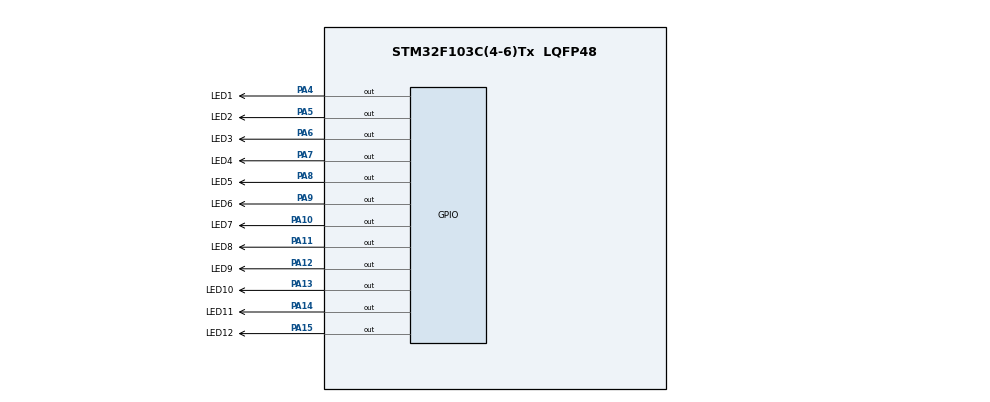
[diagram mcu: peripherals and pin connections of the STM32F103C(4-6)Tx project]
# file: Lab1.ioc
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Mcu.Family=STM32F1
Mcu.Name=STM32F103C(4-6)Tx
Mcu.Package=LQFP48
NVIC.PriorityGroup=NVIC_PRIORITYGROUP_4
PA10.GPIO_Label=LED7
PA10.Signal=GPIO_Output
PA11.GPIO_Label=LED8
PA11.Signal=GPIO_Output
PA12.GPIO_Label=LED9
PA12.Signal=GPIO_Output
PA13.GPIO_Label=LED10
PA13.Signal=GPIO_Output
PA14.GPIO_Label=LED11
PA14.Signal=GPIO_Output
PA15.GPIO_Label=LED12
PA15.Signal=GPIO_Output
PA4.GPIO_Label=LED1
PA4.Signal=GPIO_Output
PA5.GPIO_Label=LED2
PA5.Signal=GPIO_Output
PA6.GPIO_Label=LED3
PA6.Signal=GPIO_Output
PA7.GPIO_Label=LED4
PA7.Signal=GPIO_Output
PA8.GPIO_Label=LED5
PA8.Signal=GPIO_Output
PA9.GPIO_Label=LED6
PA9.Signal=GPIO_Output
ProjectManager.HeapSize=0x200
ProjectManager.StackSize=0x400
ProjectManager.TargetToolchain=STM32CubeIDE
RCC.APB1Freq_Value=8000000
RCC.APB2Freq_Value=8000000
VP_SYS_VS_ND.Mode=No_Debug
board=custom

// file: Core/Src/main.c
/* USER CODE BEGIN Header */
/**
  ******************************************************************************
  * @file           : main.c
  * @brief          : Main program body
  ******************************************************************************
  * @attention
  *
  * Copyright (c) 2024 STMicroelectronics.
  * All rights reserved.
  *
  * This software is licensed under terms that can be found in the LICENSE file
  * in the root directory of this software component.
  * If no LICENSE file comes with this software, it is provided AS-IS.
  *
  ******************************************************************************
  */
/* USER CODE END Header */
#include "main.h"

/* USER CODE BEGIN PV */
int sec = 0;
int min = 55;
int hour = 11;
/* USER CODE END PV */

void SystemClock_Config(void);
static void MX_GPIO_Init(void);
/* USER CODE BEGIN PFP */
//ex7
void clearAllClock()
{
	HAL_GPIO_WritePin(LED1_GPIO_Port, LED1_Pin, GPIO_PIN_SET);
	HAL_GPIO_WritePin(LED2_GPIO_Port, LED2_Pin, GPIO_PIN_SET);
	HAL_GPIO_WritePin(LED3_GPIO_Port, LED3_Pin, GPIO_PIN_SET);
	HAL_GPIO_WritePin(LED4_GPIO_Port, LED4_Pin, GPIO_PIN_SET);
	HAL_GPIO_WritePin(LED5_GPIO_Port, LED5_Pin, GPIO_PIN_SET);
	HAL_GPIO_WritePin(LED6_GPIO_Port, LED6_Pin, GPIO_PIN_SET);
	HAL_GPIO_WritePin(LED7_GPIO_Port, LED7_Pin, GPIO_PIN_SET);
	HAL_GPIO_WritePin(LED8_GPIO_Port, LED8_Pin, GPIO_PIN_SET);
	HAL_GPIO_WritePin(LED9_GPIO_Port, LED9_Pin, GPIO_PIN_SET);
	HAL_GPIO_WritePin(LED10_GPIO_Port, LED10_Pin, GPIO_PIN_SET);
	HAL_GPIO_WritePin(LED11_GPIO_Port, LED11_Pin, GPIO_PIN_SET);
	HAL_GPIO_WritePin(LED12_GPIO_Port, LED12_Pin, GPIO_PIN_SET);
}
//BEGIN EX8
void setNumberOnClock(int num)
{
	switch(num)
	{
		case 0:
			HAL_GPIO_WritePin(LED12_GPIO_Port, LED12_Pin, GPIO_PIN_RESET);
			break;
		case 1:
			HAL_GPIO_WritePin(LED1_GPIO_Port, LED1_Pin, GPIO_PIN_RESET);
			break;
		case 2:
			HAL_GPIO_WritePin(LED2_GPIO_Port, LED2_Pin, GPIO_PIN_RESET);
			break;
		case 3:
			HAL_GPIO_WritePin(LED3_GPIO_Port, LED3_Pin, GPIO_PIN_RESET);
			break;
		case 4:
			HAL_GPIO_WritePin(LED4_GPIO_Port, LED4_Pin, GPIO_PIN_RESET);
			break;
		case 5:
			HAL_GPIO_WritePin(LED5_GPIO_Port, LED5_Pin, GPIO_PIN_RESET);
			break;
		case 6:
			HAL_GPIO_WritePin(LED6_GPIO_Port, LED6_Pin, GPIO_PIN_RESET);
			break;
		case 7:
			HAL_GPIO_WritePin(LED7_GPIO_Port, LED7_Pin, GPIO_PIN_RESET);
			break;
		case 8:
			HAL_GPIO_WritePin(LED8_GPIO_Port, LED8_Pin, GPIO_PIN_RESET);
			break;
		case 9:
			HAL_GPIO_WritePin(LED9_GPIO_Port, LED9_Pin, GPIO_PIN_RESET);
			break;
		case 10:
			HAL_GPIO_WritePin(LED10_GPIO_Port, LED10_Pin, GPIO_PIN_RESET);
			break;
		case 11:
			HAL_GPIO_WritePin(LED11_GPIO_Port, LED11_Pin, GPIO_PIN_RESET);
			break;
	}
}
//BEGIN ex9
void clearNumberOnClock(int num)
{
	switch(num)
	{
		case 0:
			HAL_GPIO_WritePin(LED12_GPIO_Port, LED12_Pin, GPIO_PIN_SET);
			break;
		case 1:
			HAL_GPIO_WritePin(LED1_GPIO_Port, LED1_Pin, GPIO_PIN_SET);
			break;
		case 2:
			HAL_GPIO_WritePin(LED2_GPIO_Port, LED2_Pin, GPIO_PIN_SET);
			break;
		case 3:
			HAL_GPIO_WritePin(LED3_GPIO_Port, LED3_Pin, GPIO_PIN_SET);
			break;
		case 4:
			HAL_GPIO_WritePin(LED4_GPIO_Port, LED4_Pin, GPIO_PIN_SET);
			break;
		case 5:
			HAL_GPIO_WritePin(LED5_GPIO_Port, LED5_Pin, GPIO_PIN_SET);
			break;
		case 6:
			HAL_GPIO_WritePin(LED6_GPIO_Port, LED6_Pin, GPIO_PIN_SET);
			break;
		case 7:
			HAL_GPIO_WritePin(LED7_GPIO_Port, LED7_Pin, GPIO_PIN_SET);
			break;
		case 8:
			HAL_GPIO_WritePin(LED8_GPIO_Port, LED8_Pin, GPIO_PIN_SET);
			break;
		case 9:
			HAL_GPIO_WritePin(LED9_GPIO_Port, LED9_Pin, GPIO_PIN_SET);
			break;
		case 10:
			HAL_GPIO_WritePin(LED10_GPIO_Port, LED10_Pin, GPIO_PIN_SET);
			break;
		case 11:
			HAL_GPIO_WritePin(LED11_GPIO_Port, LED11_Pin, GPIO_PIN_SET);
			break;
	}
}
/* USER CODE END PFP */

int main(void)
{

  /* MCU Configuration--------------------------------------------------------*/

  /* Reset of all peripherals, Initializes the Flash interface and the Systick. */
  HAL_Init();

  /* Configure the system clock */
  SystemClock_Config();

  /* Initialize all configured peripherals */
  MX_GPIO_Init();

  /* Infinite loop */
  /* USER CODE BEGIN WHILE */

  clearAllClock();

  while (1)
  {
	  //ex10
	  clearNumberOnClock(min / 5);
	  //update kim giây, tạo hiệu ứng nhấp nháy
	  if (sec % 5 == 0) setNumberOnClock(sec / 5) ;
			  else clearNumberOnClock(sec / 5);

	  setNumberOnClock(min / 5);
	  setNumberOnClock(hour);

	  sec++;

	  if (sec >= 60){
		  sec = 0;
		  min++;
		  if (min >= 60){
			  min = 0;
			  clearNumberOnClock(hour);
			  hour++;
			  setNumberOnClock(hour);
			  if (hour >= 12) {
				  hour = 0;
			  }
		  }
	  }

	  HAL_Delay(100);
    /* USER CODE END WHILE */

  }
}

void SystemClock_Config(void)
{
  RCC_OscInitTypeDef RCC_OscInitStruct = {0};
  RCC_ClkInitTypeDef RCC_ClkInitStruct = {0};

  /** Initializes the RCC Oscillators according to the specified parameters
  * in the RCC_OscInitTypeDef structure.
  */
  RCC_OscInitStruct.OscillatorType = RCC_OSCILLATORTYPE_HSI;
  RCC_OscInitStruct.HSIState = RCC_HSI_ON;
  RCC_OscInitStruct.HSICalibrationValue = RCC_HSICALIBRATION_DEFAULT;
  RCC_OscInitStruct.PLL.PLLState = RCC_PLL_NONE;
  if (HAL_RCC_OscConfig(&RCC_OscInitStruct) != HAL_OK)
  {
    Error_Handler();
  }
  /** Initializes the CPU, AHB and APB buses clocks
  */
  RCC_ClkInitStruct.ClockType = RCC_CLOCKTYPE_HCLK|RCC_CLOCKTYPE_SYSCLK
                              |RCC_CLOCKTYPE_PCLK1|RCC_CLOCKTYPE_PCLK2;
  RCC_ClkInitStruct.SYSCLKSource = RCC_SYSCLKSOURCE_HSI;
  RCC_ClkInitStruct.AHBCLKDivider = RCC_SYSCLK_DIV1;
  RCC_ClkInitStruct.APB1CLKDivider = RCC_HCLK_DIV1;
  RCC_ClkInitStruct.APB2CLKDivider = RCC_HCLK_DIV1;

  if (HAL_RCC_ClockConfig(&RCC_ClkInitStruct, FLASH_LATENCY_0) != HAL_OK)
  {
    Error_Handler();
  }
}

static void MX_GPIO_Init(void)
{
  GPIO_InitTypeDef GPIO_InitStruct = {0};

  /* GPIO Ports Clock Enable */
  __HAL_RCC_GPIOA_CLK_ENABLE();

  /*Configure GPIO pin Output Level */
  HAL_GPIO_WritePin(GPIOA, LED1_Pin|LED2_Pin|LED3_Pin|LED4_Pin
                          |LED5_Pin|LED6_Pin|LED7_Pin|LED8_Pin
                          |LED9_Pin|LED10_Pin|LED11_Pin|LED12_Pin, GPIO_PIN_RESET);

  /*Configure GPIO pins : LED1_Pin LED2_Pin LED3_Pin LED4_Pin
                           LED5_Pin LED6_Pin LED7_Pin LED8_Pin
                           LED9_Pin LED10_Pin LED11_Pin LED12_Pin */
  GPIO_InitStruct.Pin = LED1_Pin|LED2_Pin|LED3_Pin|LED4_Pin
                          |LED5_Pin|LED6_Pin|LED7_Pin|LED8_Pin
                          |LED9_Pin|LED10_Pin|LED11_Pin|LED12_Pin;
  GPIO_InitStruct.Mode = GPIO_MODE_OUTPUT_PP;
  GPIO_InitStruct.Pull = GPIO_NOPULL;
  GPIO_InitStruct.Speed = GPIO_SPEED_FREQ_LOW;
  HAL_GPIO_Init(GPIOA, &GPIO_InitStruct);

}

void Error_Handler(void)
{
  __disable_irq();
  while (1)
  {
  }
}

/************************ (C) COPYRIGHT STMicroelectronics *****END OF FILE****/
